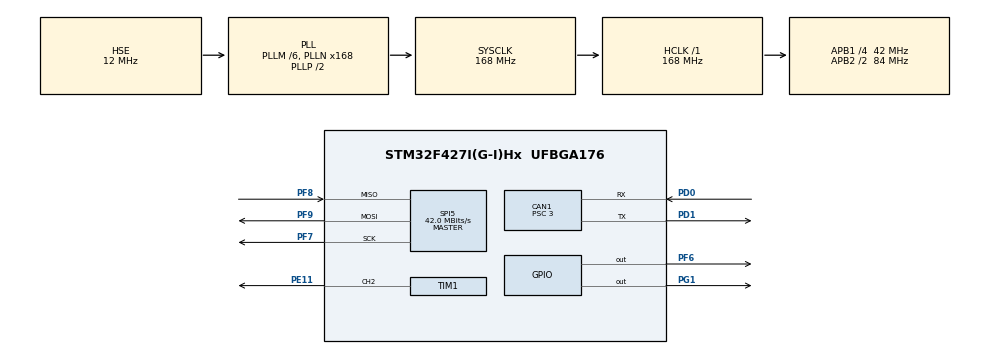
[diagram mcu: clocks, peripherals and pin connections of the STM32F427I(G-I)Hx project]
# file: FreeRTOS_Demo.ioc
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CAN1.ABOM=ENABLE
CAN1.BS1=CAN_BS1_9TQ
CAN1.BS2=CAN_BS2_4TQ
CAN1.CalculateBaudRate=1000000
CAN1.CalculateTimeBit=1000
CAN1.CalculateTimeQuantum=71.42857142857143
CAN1.Prescaler=3
FREERTOS.INCLUDE_vTaskDelayUntil=1
FREERTOS.Tasks01=defaultTask,0,128,StartDefaultTask,Default,NULL,Dynamic,NULL,NULL;StartTask,3,128,Start_Task,Default,NULL,Dynamic,NULL,NULL
Mcu.Family=STM32F4
Mcu.Name=STM32F427I(G-I)Hx
Mcu.Package=UFBGA176
NVIC.CAN1_RX0_IRQn=true\:5\:0\:false\:false\:true\:true\:true\:true\:true
NVIC.CAN1_TX_IRQn=true\:5\:0\:false\:false\:true\:true\:true\:true\:true
NVIC.PriorityGroup=NVIC_PRIORITYGROUP_4
NVIC.TIM6_DAC_IRQn=true\:15\:0\:false\:false\:true\:false\:false\:true\:true
NVIC.TimeBase=TIM6_DAC_IRQn
NVIC.TimeBaseIP=TIM6
PA13.Mode=Serial_Wire
PA13.Signal=SYS_JTMS-SWDIO
PA14.Mode=Serial_Wire
PA14.Signal=SYS_JTCK-SWCLK
PD0.Mode=CAN_Activate
PD0.Signal=CAN1_RX
PD1.Mode=CAN_Activate
PD1.Signal=CAN1_TX
PE11.Signal=S_TIM1_CH2
PF6.Signal=GPIO_Output
PF7.Mode=Full_Duplex_Master
PF7.Signal=SPI5_SCK
PF8.Mode=Full_Duplex_Master
PF8.Signal=SPI5_MISO
PF9.Mode=Full_Duplex_Master
PF9.Signal=SPI5_MOSI
PG1.Signal=GPIO_Output
PH0/OSC_IN.Mode=HSE-External-Oscillator
PH0/OSC_IN.Signal=RCC_OSC_IN
PH1/OSC_OUT.Mode=HSE-External-Oscillator
PH1/OSC_OUT.Signal=RCC_OSC_OUT
ProjectManager.HeapSize=0x200
ProjectManager.StackSize=0x400
ProjectManager.TargetToolchain=MDK-ARM V5.32
RCC.48MHZClocksFreq_Value=84000000
RCC.AHBFreq_Value=168000000
RCC.APB1CLKDivider=RCC_HCLK_DIV4
RCC.APB1Freq_Value=42000000
RCC.APB1TimFreq_Value=84000000
RCC.APB2CLKDivider=RCC_HCLK_DIV2
RCC.APB2Freq_Value=84000000
RCC.APB2TimFreq_Value=168000000
RCC.CortexFreq_Value=168000000
RCC.HCLKFreq_Value=168000000
RCC.HSE_VALUE=12000000
RCC.HSI_VALUE=16000000
RCC.LSE_VALUE=32768
RCC.PLLM=6
RCC.PLLN=168
RCC.PLLSourceVirtual=RCC_PLLSOURCE_HSE
RCC.SYSCLKFreq_VALUE=168000000
RCC.SYSCLKSource=RCC_SYSCLKSOURCE_PLLCLK
RCC.VCOOutputFreq_Value=336000000
SH.S_TIM1_CH2.0=TIM1_CH2,PWM Generation2 CH2
SPI5.CalculateBaudRate=42.0 MBits/s
SPI5.Direction=SPI_DIRECTION_2LINES
SPI5.Mode=SPI_MODE_MASTER
SPI5.VirtualType=VM_MASTER
TIM1.Channel-PWM\ Generation2\ CH2=TIM_CHANNEL_2
TIM1.OCPolarity_2=TIM_OCPOLARITY_LOW
TIM1.Period=1000-1
TIM1.Prescaler=168-1
VP_FREERTOS_VS_CMSIS_V1.Mode=CMSIS_V1
VP_SYS_VS_tim6.Mode=TIM6
board=custom

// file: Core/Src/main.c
/* USER CODE BEGIN Header */
/**
  ******************************************************************************
  * @file           : main.c
  * @brief          : Main program body
  ******************************************************************************
  * @attention
  *
  * Copyright (c) 2024 STMicroelectronics.
  * All rights reserved.
  *
  * This software is licensed under terms that can be found in the LICENSE file
  * in the root directory of this software component.
  * If no LICENSE file comes with this software, it is provided AS-IS.
  *
  ******************************************************************************
  */
/* USER CODE END Header */
#include "main.h"
#include "cmsis_os.h"
#include "can.h"
#include "spi.h"
#include "tim.h"
#include "gpio.h"

/* USER CODE BEGIN Includes */
#include "bsp_can.h"
#include "pid.h"
#include "bsp_imu.h"
/* USER CODE END Includes */

/* USER CODE BEGIN PV */

extern imu_t              imu;
char buf[300];
/* USER CODE END PV */

void SystemClock_Config(void);
void MX_FREERTOS_Init(void);

int main(void)
{

  /* MCU Configuration--------------------------------------------------------*/

  /* Reset of all peripherals, Initializes the Flash interface and the Systick. */
  HAL_Init();

  /* Configure the system clock */
  SystemClock_Config();

  /* Initialize all configured peripherals */
  MX_GPIO_Init();
  MX_TIM1_Init();
  MX_CAN1_Init();
  MX_SPI5_Init();
  /* USER CODE BEGIN 2 */
  can_user_init(&hcan1);

	mpu_device_init();
	init_quaternion();

  /* USER CODE END 2 */

  /* Call init function for freertos objects (in cmsis_os2.c) */
  MX_FREERTOS_Init();

  /* Start scheduler */
  osKernelStart();

  /* We should never get here as control is now taken by the scheduler */

  /* Infinite loop */
  while (1)
  {

  }
}

void SystemClock_Config(void)
{
  RCC_OscInitTypeDef RCC_OscInitStruct = {0};
  RCC_ClkInitTypeDef RCC_ClkInitStruct = {0};

  /** Configure the main internal regulator output voltage
  */
  __HAL_RCC_PWR_CLK_ENABLE();
  __HAL_PWR_VOLTAGESCALING_CONFIG(PWR_REGULATOR_VOLTAGE_SCALE1);

  /** Initializes the RCC Oscillators according to the specified parameters
  * in the RCC_OscInitTypeDef structure.
  */
  RCC_OscInitStruct.OscillatorType = RCC_OSCILLATORTYPE_HSE;
  RCC_OscInitStruct.HSEState = RCC_HSE_ON;
  RCC_OscInitStruct.PLL.PLLState = RCC_PLL_ON;
  RCC_OscInitStruct.PLL.PLLSource = RCC_PLLSOURCE_HSE;
  RCC_OscInitStruct.PLL.PLLM = 6;
  RCC_OscInitStruct.PLL.PLLN = 168;
  RCC_OscInitStruct.PLL.PLLP = RCC_PLLP_DIV2;
  RCC_OscInitStruct.PLL.PLLQ = 4;
  if (HAL_RCC_OscConfig(&RCC_OscInitStruct) != HAL_OK)
  {
    Error_Handler();
  }

  /** Initializes the CPU, AHB and APB buses clocks
  */
  RCC_ClkInitStruct.ClockType = RCC_CLOCKTYPE_HCLK|RCC_CLOCKTYPE_SYSCLK
                              |RCC_CLOCKTYPE_PCLK1|RCC_CLOCKTYPE_PCLK2;
  RCC_ClkInitStruct.SYSCLKSource = RCC_SYSCLKSOURCE_PLLCLK;
  RCC_ClkInitStruct.AHBCLKDivider = RCC_SYSCLK_DIV1;
  RCC_ClkInitStruct.APB1CLKDivider = RCC_HCLK_DIV4;
  RCC_ClkInitStruct.APB2CLKDivider = RCC_HCLK_DIV2;

  if (HAL_RCC_ClockConfig(&RCC_ClkInitStruct, FLASH_LATENCY_5) != HAL_OK)
  {
    Error_Handler();
  }
}

void HAL_TIM_PeriodElapsedCallback(TIM_HandleTypeDef *htim)
{
  if (htim->Instance == TIM6) {
    HAL_IncTick();
  }
}

void Error_Handler(void)
{
  __disable_irq();
  while (1)
  {
  }
}

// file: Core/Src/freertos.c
/* USER CODE BEGIN Header */
/**
  ******************************************************************************
  * File Name          : freertos.c
  * Description        : Code for freertos applications
  ******************************************************************************
  * @attention
  *
  * Copyright (c) 2024 STMicroelectronics.
  * All rights reserved.
  *
  * This software is licensed under terms that can be found in the LICENSE file
  * in the root directory of this software component.
  * If no LICENSE file comes with this software, it is provided AS-IS.
  *
  ******************************************************************************
  */
/* USER CODE END Header */

#include "FreeRTOS.h"
#include "task.h"
#include "main.h"
#include "cmsis_os.h"

osThreadId defaultTaskHandle;
osThreadId StartTaskHandle;

/* USER CODE BEGIN FunctionPrototypes */

osThreadId LEDBlinkTaskHandle;
osThreadId LEDBreathTaskHandle;
osThreadId IMUTaskHandle;
osThreadId MotorTaskHandle;

/* USER CODE END FunctionPrototypes */

void StartDefaultTask(void const * argument);
void Start_Task(void const * argument);

void MX_FREERTOS_Init(void); /* (MISRA C 2004 rule 8.1) */

/* GetIdleTaskMemory prototype (linked to static allocation support) */
void vApplicationGetIdleTaskMemory( StaticTask_t **ppxIdleTaskTCBBuffer, StackType_t **ppxIdleTaskStackBuffer, uint32_t *pulIdleTaskStackSize );

/* USER CODE BEGIN GET_IDLE_TASK_MEMORY */
static StaticTask_t xIdleTaskTCBBuffer;
static StackType_t xIdleStack[configMINIMAL_STACK_SIZE];

void vApplicationGetIdleTaskMemory( StaticTask_t **ppxIdleTaskTCBBuffer, StackType_t **ppxIdleTaskStackBuffer, uint32_t *pulIdleTaskStackSize )
{
  *ppxIdleTaskTCBBuffer = &xIdleTaskTCBBuffer;
  *ppxIdleTaskStackBuffer = &xIdleStack[0];
  *pulIdleTaskStackSize = configMINIMAL_STACK_SIZE;
  /* place for user code */
}
/* USER CODE END GET_IDLE_TASK_MEMORY */

void MX_FREERTOS_Init(void) {

  /* Create the thread(s) */
  /* definition and creation of defaultTask */
  osThreadDef(defaultTask, StartDefaultTask, osPriorityNormal, 0, 128);
  defaultTaskHandle = osThreadCreate(osThread(defaultTask), NULL);

  /* definition and creation of StartTask */
  osThreadDef(StartTask, Start_Task, osPriorityRealtime, 0, 128);
  StartTaskHandle = osThreadCreate(osThread(StartTask), NULL);

}

void StartDefaultTask(void const * argument)
{
  for(;;)
  {
    osDelay(1);
  }
}

/* USER CODE BEGIN Header_Start_Task */
#include "tim.h"
#include "pid.h"
#include "bsp_imu.h"

void LED_Blink_Task(void const * argument);
void LED_Breath_Task(void const * argument);
void IMU_Task(void const * argument);
void Motor_Task(void const * argument);

/**
* @brief Function implementing the StartTask thread.
* @param argument: Not used
* @retval None
*/
/* USER CODE END Header_Start_Task */
void Start_Task(void const * argument)
{
  /* USER CODE BEGIN Start_Task */
  /* Infinite loop */
  taskENTER_CRITICAL();

  osThreadDef(LEDBlinkTask, LED_Blink_Task, osPriorityNormal, 0, 128);
  LEDBlinkTaskHandle = osThreadCreate(osThread(LEDBlinkTask), NULL);

//  osThreadDef(LEDBreathTask, LED_Breath_Task, osPriorityNormal, 0, 128);
//  LEDBreathTaskHandle = osThreadCreate(osThread(LEDBreathTask), NULL);

  osThreadDef(IMUTask, IMU_Task, osPriorityNormal, 0, 128);
  IMUTaskHandle = osThreadCreate(osThread(IMUTask), NULL);

	osThreadDef(MotorTask, Motor_Task, osPriorityNormal, 0, 128);
  MotorTaskHandle = osThreadCreate(osThread(MotorTask), NULL);

	osThreadTerminate(StartTaskHandle);

	taskEXIT_CRITICAL();

  /* USER CODE END Start_Task */
}

/* USER CODE BEGIN Application */

void LED_Blink_Task(void const * argument)
{
  /* USER CODE BEGIN StartDefaultTask */
	uint32_t prevTime = osKernelSysTick();
  /* Infinite loop */
  while(1)
	{
		osDelayUntil(&prevTime,500);
		HAL_GPIO_TogglePin(GPIOG,GPIO_PIN_1);
	}
  /* USER CODE END StartDefaultTask */
}

//void LED_Breath_Task(void const * argument)
//{
//  /* USER CODE BEGIN StartDefaultTask */
//	uint32_t prevTime = osKernelSysTick();
//  /* Infinite loop */
//	int light =0;
//	int flag =1;
//	HAL_TIM_PWM_Start(&htim1,TIM_CHANNEL_2);
//  while(1)
//	{
//		osDelayUntil(&prevTime,2);
//		if(flag)
//		{
//			light+=2;
//		}
//		else
//		{
//			light-=2;
//		}
//		if(light>=1000)
//		{
//			light =999;
//			flag=0;
//		}
//		else if(light<=0)
//		{
//			light =0;
//			flag=1;
//		}
//		__HAL_TIM_SetCompare(&htim1,TIM_CHANNEL_2,light);
//	}
//  /* USER CODE END StartDefaultTask */
//}

void IMU_Task(void const * argument)
{
  /* USER CODE BEGIN StartDefaultTask */
	uint32_t prevTime = osKernelSysTick();
	static float temp1=0;
	static float temp2=0;
  /* Infinite loop */
  while(1)
	{
		osDelayUntil(&prevTime,10);
		mpu_get_data();
		imu_ahrs_update();
		imu_attitude_update();

		temp2=temp1;

		temp1=imu.pit;
		if(temp1-temp2>1) //把小于1的变化值当作干扰滤掉
		{
			imu.pit=temp1;
		}
		else
		{
			imu.pit=temp2;
		}
	}
  /* USER CODE END StartDefaultTask */
}

#include "bsp_can.h"

pid_struct_t motor_pid[7];
moto_info_t motor_info[7];

float angle;
void Motor_Task(void const * argument)
{
  /* USER CODE BEGIN StartDefaultTask */
	uint32_t prevTime = osKernelSysTick();
  /* Infinite loop */
	pid_init(&motor_pid[0], 10, 0, 0.5, 9000, 9000);

//
  while(1)
	{
		osDelayUntil(&prevTime,50);

		angle=(imu.pit+90)/180*8192; //将imupit值（-90~90）转为（0~180），等比对应于电机的0~8191
    motor_info[0].set_voltage = pid_calc(&motor_pid[0],angle , motor_info[0].rotor_angle);
    set_motor_voltage(0,
                      motor_info[0].set_voltage,
                      0,
                      0,
                      0);

//
	}
  /* USER CODE END StartDefaultTask */
}

/* USER CODE END Application */
